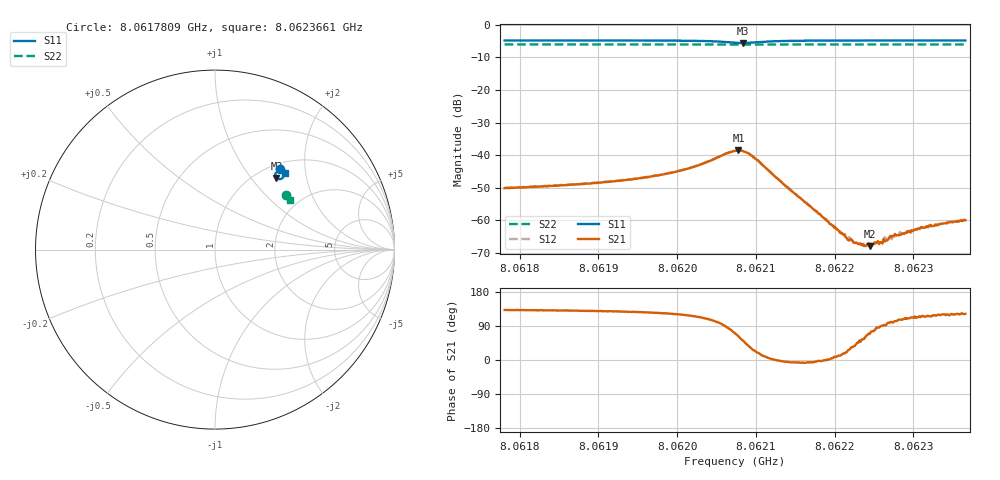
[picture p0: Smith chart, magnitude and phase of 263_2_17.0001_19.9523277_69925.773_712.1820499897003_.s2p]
#  HZ  S  RI  R  50.00
! Rohde & Schwarz Vector Network Analyzer
! Rohde-Schwarz,ZNB20-2Port,1311601062101988,3.16
! Created: UTC 3/20/2024, 11:03:52 PM
! freq[Hz]  re:S11  im:S11  re:S21  im:S21  re:S12  im:S12  re:S22  im:S22
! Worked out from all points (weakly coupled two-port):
!   401 points, 8.0617809 GHz to 8.0623661 GHz, reference 50 ohm
!   highest |S21| = -38.57 dB at 8.0620779 GHz (marker M1); lowest = -68.0 dB at 8.0622447 GHz (marker M2)
!   lowest |S11| = -5.6 dB at 8.0620837 GHz (marker M3), VSWR 3.22, Z = 61.2 + j67.4 ohm
!   |S11| at or under -10 dB: nowhere
!   |S22| runs from -6.1 to -6.0 dB; largest |S21 - S12| = 0.00089
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8.06178085e9  0.3629 0.4473  -0.00208 0.0023  -0.00196 0.00247  0.3968 0.305
8.06187888e9  0.3699 0.4409  -0.0023 0.00276  -0.00219 0.00293  0.4004 0.3001
8.06192424e9  0.3735 0.4372  -0.00247 0.00316  -0.00233 0.00332  0.402 0.2979
8.06197691e9  0.3782 0.4312  -0.00273 0.00405  -0.00256 0.00424  0.4037 0.295
8.06201788e9  0.382 0.422  -0.00286 0.00575  -0.00254 0.00596  0.4051 0.2926
8.06207348e9  0.3585 0.3923  0.0039 0.0108  0.00454 0.0108  0.4055 0.2889
8.06207787e9  0.3513 0.3936  0.00544 0.0105  0.00623 0.0101  0.4055 0.2889
8.06208372e9  0.3426 0.3988  0.00726 0.00889  0.00798 0.00841  0.4051 0.2892
8.06209982e9  0.3365 0.4224  0.00802 0.00327  0.0084 0.0029  0.4058 0.2893
8.06217151e9  0.3673 0.4384  0.00153 -0.00017  0.00152 -0.000259  0.4098 0.2863
8.0622037e9  0.373 0.4362  0.000704 0.000129  0.00072 7.2e-05  0.411 0.2846
8.06221687e9  0.3748 0.4354  0.000449 0.000212  0.00048 0.000211  0.4115 0.2837
8.06222711e9  0.3759 0.4347  0.000342 0.000299  0.000368 0.000253  0.4119 0.2833
8.06223297e9  0.3766 0.4343  0.000296 0.000329  0.000275 0.000319  0.412 0.283
8.06223735e9  0.3771 0.434  0.000228 0.00033  0.000249 0.00036  0.4122 0.2827
8.06224467e9  0.3777 0.4335  0.000146 0.000371  0.000149 0.000388  0.4125 0.2824
8.06225784e9  0.3789 0.4327  1.22e-05 0.00046  4.66e-05 0.000453  0.4129 0.2817
8.06226954e9  0.3802 0.4319  -7.58e-05 0.000538  -5.96e-05 0.000521  0.4133 0.2811
8.06227393e9  0.3806 0.4317  -8.65e-05 0.000568  -9.26e-05 0.000541  0.4135 0.281
8.06228564e9  0.3816 0.4309  -0.000171 0.000592  -0.000168 0.000606  0.4138 0.2803
8.06231929e9  0.3843 0.4288  -0.000353 0.000746  -0.000314 0.000711  0.415 0.2785
8.06236611e9  0.3875 0.4262  -0.000528 0.000851  -0.000503 0.000865  0.4166 0.276
